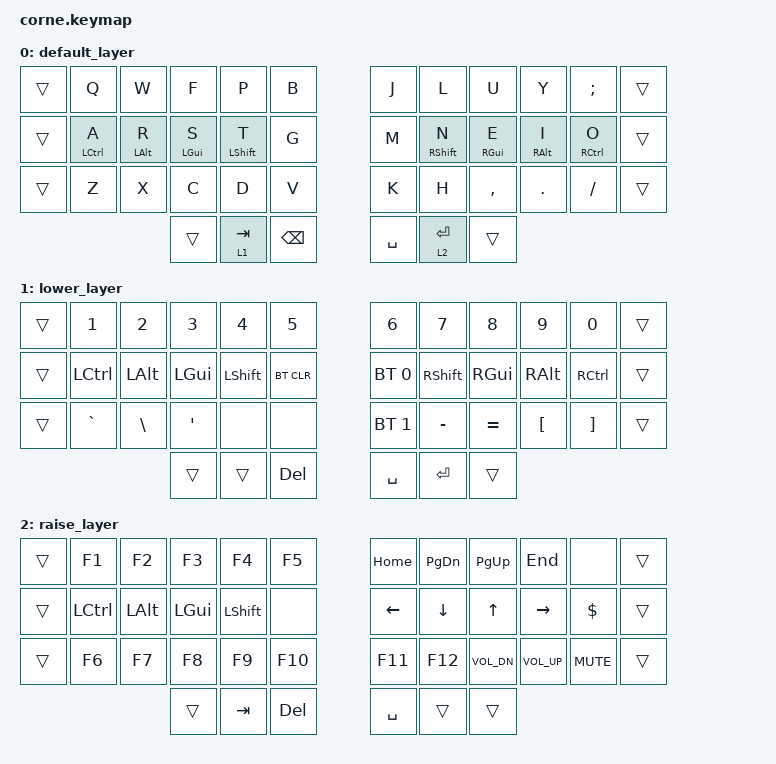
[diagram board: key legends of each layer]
/*
 * Copyright (c) 2020 The ZMK Contributors
 *
 * SPDX-License-Identifier: MIT
 */

#include <behaviors.dtsi>
#include <dt-bindings/zmk/keys.h>
#include <dt-bindings/zmk/bt.h>



&mt {
    tapping-term-ms = <200>;
    flavor = "tap-preferred";
};



/ {
    combos {
        compatible = "zmk,combos";
        combo_esc {
            timeout-ms = <30>;
            key-positions = <1 2>;
            bindings = <&kp ESC>;
        };
    };


    behaviors {
        hm: homerow_mods {
            compatible = "zmk,behavior-hold-tap";
            label = "HOMEROW_MODS";
            #binding-cells = <2>;
            tapping-term-ms = <250>;
            quick-tap-ms = <0>;
            flavor = "tap-preferred";
            bindings = <&kp>, <&kp>;
        };
    };



    keymap {
        compatible = "zmk,keymap";

                default_layer {
// -----------------------------------------------------------------------------------------
// |  |  Q  |  W  |  F  |  P  |  B  |      |  J  |  L   |  U  |  Y  |  ;  |  |
// |  |  A  |  R  |  S  |  T  |  G  |      |  M  |  N   |  E  |  I  |  O  |  |
// |  |  Z  |  X  |  C  |  D  |  V  |      |  K  |  H   |  ,  |  .  |  /  |  |
//                |    |TAB/LWR|BKSP|      | SPC |RET/RSE|    |
                        bindings = <
   &trans   &kp Q      &kp W      &kp F      &kp P        &kp B      &kp J     &kp L        &kp U      &kp Y      &kp SEMI   &trans       
   &trans   &hm LCTL A &hm LALT R &hm LGUI S &hm LSHFT T  &kp G      &kp M     &hm RSHFT N  &hm RGUI E &hm RALT I &hm RCTL O &trans       
   &trans   &kp Z      &kp X      &kp C      &kp D        &kp V      &kp K     &kp H        &kp COMMA  &kp DOT    &kp FSLH   &trans      
                                  &trans     &lt 1 TAB    &kp BSPC   &kp SPACE &lt 2 RET    &trans
                        >;
                };

                lower_layer {
// -----------------------------------------------------------------------------------------
// |  |  1  |  2  |  3  |  4  |  5  |      |  6  |  7  |  8  |  9  |  0  |  |
// |  | CTRL| ALT | GUI | SHFT|BTCLR|      |BT_0 | SHFT| GUI | ALT | CTRL|  |
// |  |  `  |  \  |  '  |     |     |      |BT_1 |  -  |  =  |  [  |  ]  |  |
//                |     |     | DEL |      | SPC | RET |     |
                        bindings = <
   &trans  &kp N1     &kp N2      &kp N3        &kp N4       &kp N5         &kp N6       &kp N7    &kp N8    &kp N9    &kp N0   &trans
   &trans  &kp LCTL   &kp LALT    &kp LGUI      &kp LSHFT    &bt BT_CLR     &bt BT_SEL 0 &kp RSHFT &kp RGUI  &kp RALT  &kp RCTL &trans
   &trans  &kp GRAVE  &kp BSLH    &kp SQT       &none        &none          &bt BT_SEL 1 &kp MINUS &kp EQUAL &kp LBKT  &kp RBKT &trans
                          	      &trans        &trans       &kp DEL        &kp SPACE    &kp RET   &trans
                        >;
                };

                raise_layer {
// -----------------------------------------------------------------------------------------
// |  | F1  | F2  | F3  | F4  | F5  |      | HOME| PGDN| PGUP| END |     |  |
// |  | CTRL| ALT | GUI | SHFT|     |      | LFT | DWN |  UP | RGT |  $  |  |
// |  | F6  | F7  | F8  | F9  | F10 |      | F11 | F12 | Vol-| Vol+| Mute|  |
//                |     | TAB | DEL |      | SPC |     |     |
                        bindings = <
   &trans  &kp F1     &kp F2      &kp F3        &kp F4       &kp F5         &kp HOME   &kp PG_DN &kp PG_UP     &kp END       &none       &trans 
   &trans  &kp LCTL   &kp LALT    &kp LGUI      &kp LSHFT    &none          &kp LEFT   &kp DOWN  &kp UP        &kp RIGHT     &kp DOLLAR  &trans
   &trans  &kp F6     &kp F7      &kp F8        &kp F9       &kp F10        &kp F11    &kp F12   &kp C_VOL_DN  &kp C_VOL_UP  &kp C_MUTE  &trans
                          	      &trans        &kp TAB      &kp DEL        &kp SPACE  &trans    &trans
                        >;
                };
        };
};
